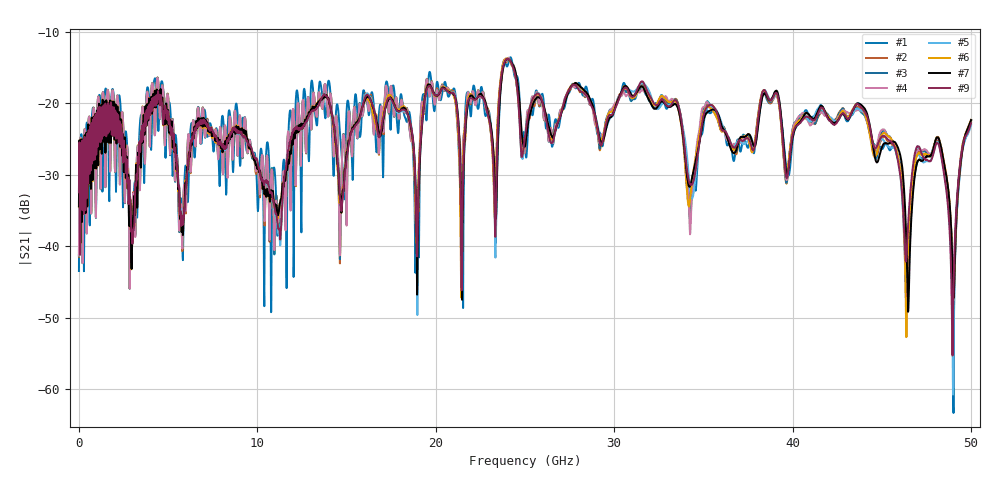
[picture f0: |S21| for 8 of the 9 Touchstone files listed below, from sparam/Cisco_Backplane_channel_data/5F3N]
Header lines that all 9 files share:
!Agilent Technologies,N5247A,US51170199,A.09.90.13
!Agilent N5247A: A.09.90.13
!Correction: S11(Full 4 Port(1,2,3,4))
!S12(Full 4 Port(1,2,3,4))
!S13(Full 4 Port(1,2,3,4))
!S14(Full 4 Port(1,2,3,4))
!S21(Full 4 Port(1,2,3,4))
!S22(Full 4 Port(1,2,3,4))
!S23(Full 4 Port(1,2,3,4))
!S24(Full 4 Port(1,2,3,4))
!S31(Full 4 Port(1,2,3,4))
!S32(Full 4 Port(1,2,3,4))
!S33(Full 4 Port(1,2,3,4))
!S34(Full 4 Port(1,2,3,4))
!S41(Full 4 Port(1,2,3,4))
!S42(Full 4 Port(1,2,3,4))
!S43(Full 4 Port(1,2,3,4))
!S44(Full 4 Port(1,2,3,4))
!S4P File: Measurements: <S11,S12,S13,S14>,
!<S21,S22,S23,S24>,
!<S31,S32,S33,S34>,
!<S41,S42,S43,S44>:
# Hz S  dB  R 50
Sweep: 10 MHz to 50 GHz
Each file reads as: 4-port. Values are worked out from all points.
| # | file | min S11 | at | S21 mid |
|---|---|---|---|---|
| 1 | Ch1_10_5F3N_f5.s4p | -41.7 dB | 10.82 GHz | -25.5 dB at 25 GHz |
| 2 | Ch1_10_5F3N_n1.s4p | -50.2 dB | 23.68 GHz | -26.9 dB at 25 GHz |
| 3 | Ch6_25_5F3N_f1.s4p | -45.7 dB | 31.58 GHz | -26.6 dB at 25 GHz |
| 4 | Ch6_25_5F3N_f3.s4p | -41.7 dB | 181.8 MHz | -26.2 dB at 25 GHz |
| 5 | Ch7_28_5F3N_t.s4p | -64.2 dB | 6.556 GHz | -24.5 dB at 25 GHz |
| 6 | Ch8_30_5F3N_f4.s4p | -48.2 dB | 31.58 GHz | -25.3 dB at 25 GHz |
| 7 | Ch8_30_5F3N_t.s4p | -46.5 dB | 88.11 MHz | -26.0 dB at 25 GHz |
| 8 | Ch9_33_5F3N_f1.s4p | -44.6 dB | 88.11 MHz | -26.0 dB at 25 GHz |
| 9 | Ch10_35_5F3N_f5.s4p | -55.0 dB | 135 MHz | -24.8 dB at 25 GHz |
